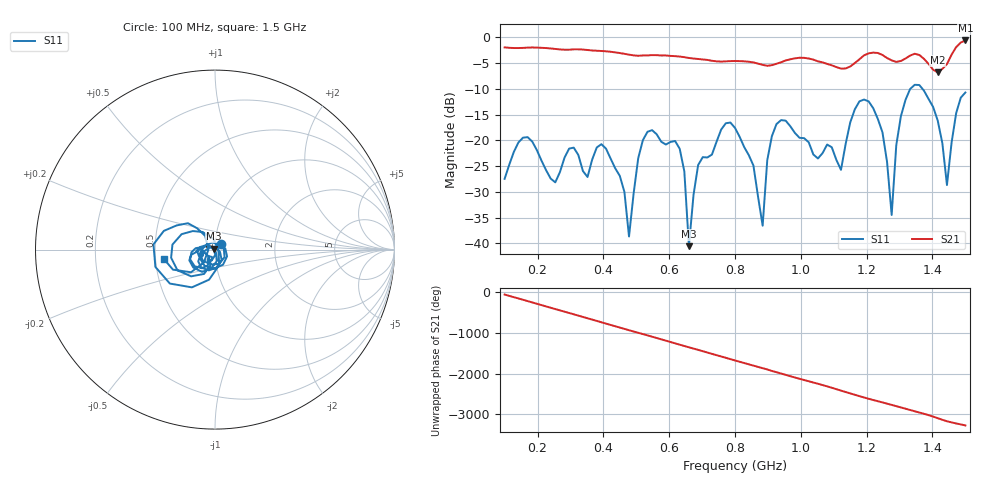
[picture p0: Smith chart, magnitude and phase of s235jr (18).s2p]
! NanoVNA-App
! Date: 2025-09-25 15:04:18
! Start: 100MHz Stop: 1,5GHz Points: 101
! S-Parameter data: F S11 S21 S12 S22
# Hz S RI R 50
!  Frequency  S11_Real  S11_Imag  S21_Real  S21_Imag  S12_Real  S12_Imag  S22_Real  S22_Imag
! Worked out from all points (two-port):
!   101 points, 100 MHz to 1.5 GHz, reference 50 ohm
!   highest |S21| = -0.61 dB at 1.5 GHz (marker M1); lowest = -6.8 dB at 1.416 GHz (marker M2)
!   |S21| within 3 dB of the highest: start of sweep to 603.7 MHz; 1.19 GHz to 1.252 GHz (62.12 MHz wide, 5.09 % of centre) (the widest 2 of 4)
!   lowest |S11| = -40.6 dB at 660 MHz (marker M3), VSWR 1.02, Z = 49.3 + j0.553 ohm
!   |S11| at or under -10 dB: start of sweep to 1.333 GHz; 1.369 GHz to end of sweep
!   S12 and S22 are empty: the file has one direction only
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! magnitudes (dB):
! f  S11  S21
! 100 MHz  -27.5  -2.0
! 170 MHz  -19.4  -2.0
! 338 MHz  -26.0  -2.4
! 408 MHz  -21.6  -2.7
! 478 MHz  -38.7  -3.4
! 520 MHz  -20.0  -3.5
! 576 MHz  -20.3  -3.5
! 632 MHz  -21.7  -3.7
! 660 MHz  -40.6  -4.0
! 688 MHz  -24.8  -4.2
! 800 MHz  -17.6  -4.6
! 884 MHz  -36.6  -5.4
! 926 MHz  -16.9  -5.1
! 1.038 GHz  -22.8  -4.3
! 1.122 GHz  -25.7  -6.1
! 1.206 GHz  -12.4  -3.1
! 1.276 GHz  -34.5  -4.5
! 1.29 GHz  -20.9  -4.8
! 1.332 GHz  -10.0  -3.5
! 1.416 GHz  -16.2  -6.8
! 1.444 GHz  -28.7  -5.2
! 1.5 GHz  -10.7  -0.6
